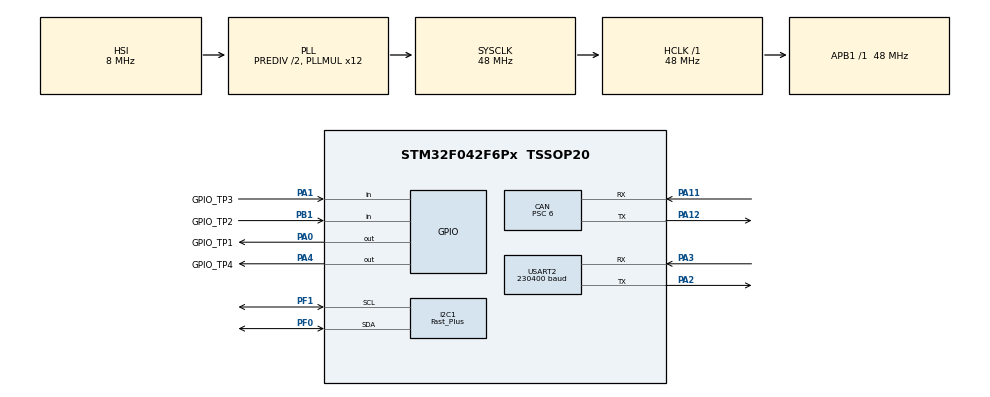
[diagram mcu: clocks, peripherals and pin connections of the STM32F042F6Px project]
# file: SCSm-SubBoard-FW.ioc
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CAN.ABOM=DISABLE
CAN.AWUM=DISABLE
CAN.BS1=CAN_BS1_13TQ
CAN.BS2=CAN_BS2_2TQ
CAN.CalculateBaudRate=500000
CAN.CalculateTimeBit=2000
CAN.CalculateTimeQuantum=125.0
CAN.NART=ENABLE
CAN.Prescaler=6
CAN.SJW=CAN_SJW_2TQ
I2C1.I2C_Speed_Mode=I2C_Fast_Plus
I2C1.Speed=100
I2C1.Timing=0x20003D5E
IWDG.Prescaler=IWDG_PRESCALER_32
IWDG.Reload=2048
IWDG.Window=2048
Mcu.Family=STM32F0
Mcu.Name=STM32F042F6Px
Mcu.Package=TSSOP20
NVIC.CEC_CAN_IRQn=true\:0\:0\:false\:false\:true\:true\:true\:true
NVIC.I2C1_IRQn=true\:0\:0\:false\:false\:true\:true\:true\:true
NVIC.TIM1_BRK_UP_TRG_COM_IRQn=true\:3\:0\:false\:false\:true\:true\:true\:true
NVIC.TIM3_IRQn=true\:0\:0\:false\:false\:true\:true\:true\:true
NVIC.TimeBase=TIM1_BRK_UP_TRG_COM_IRQn
NVIC.TimeBaseIP=TIM1
NVIC.USART2_IRQn=true\:0\:0\:false\:false\:true\:true\:true\:true
PA0.GPIO_Label=GPIO_TP1
PA0.Signal=GPIO_Output
PA1.GPIO_Label=GPIO_TP3
PA1.Signal=GPIO_Input
PA11.Mode=CAN_Activate
PA11.Signal=CAN_RX
PA12.Mode=CAN_Activate
PA12.Signal=CAN_TX
PA13.Mode=Serial_Wire
PA13.Signal=SYS_SWDIO
PA14.Mode=Serial_Wire
PA14.Signal=SYS_SWCLK
PA2.Mode=Asynchronous
PA2.Signal=USART2_TX
PA3.Mode=Asynchronous
PA3.Signal=USART2_RX
PA4.GPIO_Label=GPIO_TP4
PA4.Signal=GPIO_Output
PA5.Signal=SPI1_SCK
PA6.Signal=SPI1_MISO
PA7.Signal=SPI1_MOSI
PB1.GPIO_Label=GPIO_TP2
PB1.Signal=GPIO_Input
PF0-OSC_IN.Mode=I2C
PF0-OSC_IN.Signal=I2C1_SDA
PF1-OSC_OUT.Mode=I2C
PF1-OSC_OUT.Signal=I2C1_SCL
ProjectManager.HeapSize=0x200
ProjectManager.StackSize=0x400
ProjectManager.TargetToolchain=STM32CubeIDE
RCC.AHBFreq_Value=48000000
RCC.APB1Freq_Value=48000000
RCC.APB1TimFreq_Value=48000000
RCC.HCLKFreq_Value=48000000
RCC.I2c1ClockSelection=RCC_I2C1CLKSOURCE_SYSCLK
RCC.PLLDivider=RCC_PREDIV_DIV2
RCC.PLLMUL=RCC_PLL_MUL12
RCC.SYSCLKFreq_VALUE=48000000
RCC.SYSCLKSource=RCC_SYSCLKSOURCE_PLLCLK
TIM2.Prescaler=47
TIM3.Period=5000
TIM3.Prescaler=4800-1
USART2.BaudRate=230400
USART2.Parity=PARITY_EVEN
USART2.VirtualMode-Asynchronous=VM_ASYNC
USART2.WordLength=WORDLENGTH_9B
VP_IWDG_VS_IWDG.Mode=IWDG_Activate
VP_SYS_VS_PINREMAP.Mode=PINREMAP
VP_SYS_VS_tim1.Mode=TIM1
VP_TIM2_VS_ClockSourceINT.Mode=Internal
VP_TIM3_VS_ClockSourceINT.Mode=Internal
board=custom

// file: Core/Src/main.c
/* USER CODE BEGIN Header */
/**
 ******************************************************************************
 * @file           : main.c
 * @brief          : Main program body
 ******************************************************************************
 * @attention
 *
 * Copyright (c) 2023 STMicroelectronics.
 * All rights reserved.
 *
 * This software is licensed under terms that can be found in the LICENSE file
 * in the root directory of this software component.
 * If no LICENSE file comes with this software, it is provided AS-IS.
 *
 ******************************************************************************
 */
/* USER CODE END Header */
#include "main.h"

/* USER CODE BEGIN Includes */
#define _LOG_LEVEL_ (4)
#include "log.h"
#include "crc8.h"
/* USER CODE END Includes */

/* USER CODE BEGIN PTD */

/* SENSOR DATA FRAME
 * length : 8 bytes
 * [0] : status - 0 for error, 1 for okay
 * [1-2] : temperature integer part - int16_t
 * [3] : temperature decimal part - uint8_t (0~99)
 * [4-5] : relative humidity integer part - int16_t
 * [6] : relative humidity decimal part - uint8_t (0-99)
 * [7] : crc of [0-6]
 */
union SHT41A_DATA
{
  uint8_t a[8];
  struct __attribute__((packed))
  {
    uint8_t status; // 0 -fail, 1 - okay
    int16_t t_int;
    uint8_t t_dec;
    int16_t h_int;
    uint8_t h_dec;
    uint8_t crc;
  } s;
};
/* USER CODE END PTD */

/* USER CODE BEGIN PD */
#define CAN_SENSORS_ID_BASE (0x300)
/* USER CODE END PD */

CAN_HandleTypeDef hcan;

I2C_HandleTypeDef hi2c1;

IWDG_HandleTypeDef hiwdg;

TIM_HandleTypeDef htim2;
TIM_HandleTypeDef htim3;

UART_HandleTypeDef huart2;

/* USER CODE BEGIN PV */
union SHT41A_DATA sht41a_data[8];
/* USER CODE END PV */

void SystemClock_Config(void);
static void MX_GPIO_Init(void);
static void MX_CAN_Init(void);
static void MX_I2C1_Init(void);
static void MX_USART2_UART_Init(void);
static void MX_TIM2_Init(void);
static void MX_TIM3_Init(void);
static void MX_IWDG_Init(void);

/* USER CODE BEGIN 0 */
int _write(int file, char *p, int len)
{
  HAL_UART_Transmit(&huart2, p, len, 10);
  return len;
}

void delay_us(uint32_t us)
{
  __HAL_TIM_SET_COUNTER(&htim2, 0); // set the counter value a 0
  while (__HAL_TIM_GET_COUNTER(&htim2) < us)
    ; // wait for the counter to reach the us input in the parameter
}
/* USER CODE END 0 */

int main(void)
{
  /* USER CODE BEGIN 1 */
  __HAL_DBGMCU_FREEZE_IWDG();

  /* USER CODE END 1 */

  /* MCU Configuration--------------------------------------------------------*/

  /* Reset of all peripherals, Initializes the Flash interface and the Systick. */
  HAL_Init();

  /* Configure the system clock */
  SystemClock_Config();

  /* Initialize all configured peripherals */
  MX_GPIO_Init();
  MX_CAN_Init();
  MX_I2C1_Init();
  MX_USART2_UART_Init();
  MX_TIM2_Init();
  MX_TIM3_Init();
  MX_IWDG_Init();
  /* USER CODE BEGIN 2 */
  if (HAL_CAN_Start(&hcan) != HAL_OK)
  {
    Error_Handler();
  }
  HAL_TIM_Base_Start(&htim2);
  HAL_TIM_Base_Start_IT(&htim3);
  /* USER CODE END 2 */

  /* Infinite loop */
  /* USER CODE BEGIN WHILE */
  LOGI("main loop starting");
  while (1)
  {
    /* USER CODE END WHILE */

    /* USER CODE BEGIN 3 */
    static int i = 0;
    uint8_t pca_config = 1 << i;
    static uint8_t sht_cmd = 0xfd;
    uint8_t sht_buf[6];
    static uint32_t loop_start = 0, loop_delay_amount = 0;

    if (i == 0)
    {
      loop_start = HAL_GetTick();
    }

    if (HAL_I2C_Master_Transmit(&hi2c1, 0x70 << 1, &pca_config, 1, 5) == HAL_OK)
    {
      LOGD("Setting I2C MUX to Port #%d okay", i);
    }
    else
    {
      LOGE("Setting I2C MUX to Port #%d FAILED", i);
      goto NEXT;
    }

    sht41a_data[i].s.status = 0;
    sht41a_data[i].s.t_int = 0;
    sht41a_data[i].s.t_dec = 0;
    sht41a_data[i].s.h_int = 0;
    sht41a_data[i].s.h_dec = 0;

    if (HAL_I2C_Master_Transmit(&hi2c1, 0x44 << 1, &sht_cmd, 1, 10) != HAL_OK)
    {
      LOGE("Transmitting command to Sensor #%d failed", i);
      goto NEXT;
    }

    delay_us(10000); // 10mS

    if (HAL_I2C_Master_Receive(&hi2c1, 0x44 << 1, sht_buf, 6, 10) != HAL_OK)
    {
      LOGE("Retrieving data from Sensor #%d failed", i);
      goto NEXT;
    }
    else
    {
      uint16_t t_ticks = (sht_buf[0] << 8) | (sht_buf[1] << 0);
      uint16_t rh_ticks = (sht_buf[3] << 8) | (sht_buf[4] << 0);
      uint8_t t_crc = __crc8(sht_buf, 2);
      uint8_t rh_crc = __crc8(sht_buf + 3, 2);

      double t_degC = -45.0l + 175.0l * (double) t_ticks / 65535.0l;
      int t_degC_int = t_degC;
      int t_degC_dec = (t_degC - t_degC_int) * 100;
      LOGD("Sensor #%d : Temp [%d.%02d]'C  crc=%d", i, t_degC_int, t_degC_dec, t_crc == sht_buf[2]);

      double rh_pRH = -6.0l + 125.0l * (double) rh_ticks / 65535.0l;
      int rh_pRH_int = rh_pRH;
      int rh_pRH_dec = (rh_pRH - rh_pRH_int) * 100;
      LOGD("Sensor #%d : Hum  [%d.%02d]%%RH crc=%d", i, rh_pRH_int, rh_pRH_dec, rh_crc == sht_buf[5]);

      if (t_crc != sht_buf[2] || rh_crc != sht_buf[5])
      {
        LOGE("CRC NOT Matched, ignoring");
      }
      else
      {
        sht41a_data[i].s.status = 1;
        sht41a_data[i].s.t_int = t_degC_int;
        sht41a_data[i].s.t_dec = t_degC_dec;
        sht41a_data[i].s.h_int = rh_pRH_int;
        sht41a_data[i].s.h_dec = rh_pRH_dec;
        sht41a_data[i].s.crc = __crc8(sht41a_data[i].a, 7);
      }
    }

    NEXT:
    i++;
    if (7 < i)
    {
      i = 0;

      for (int j = 0; j < 8; j++)
      {
        CAN_TxHeaderTypeDef TxHeader;
        uint32_t TxMailBox;
        int retry_cnt = 0;

        TxHeader.StdId = CAN_SENSORS_ID_BASE + j;
        TxHeader.ExtId = 0;
        TxHeader.IDE = CAN_ID_STD;
        TxHeader.RTR = CAN_RTR_DATA;
        TxHeader.DLC = 8;

        while (1)
        {
          if (HAL_CAN_AddTxMessage(&hcan, &TxHeader, sht41a_data[j].a, &TxMailBox) != HAL_OK)
          {
            retry_cnt++;

            if (10 <= retry_cnt)
            {
              LOGE("HAL_CAN_AddTxMessage Failed : %d", j);
              break;
            }
            delay_us(100);
          }
          else
          {
            break;
          }
        }
        delay_us(5000);
      }

      uint32_t now = HAL_GetTick();
      if (now < loop_start)
      { // tick overlapped
        loop_delay_amount = 5000 - (now + (UINT32_MAX - loop_start));
      }
      else
      {
        loop_delay_amount = 5000 - (now - loop_start);
      }

      LOGD("loop done. delay for %lu msec", loop_delay_amount);
      LOGI("=========================");
      delay_us(loop_delay_amount * 1000);
    }
    else
    {
      delay_us(100000);
    }

  }
  /* USER CODE END 3 */
}

void SystemClock_Config(void)
{
  RCC_OscInitTypeDef RCC_OscInitStruct = {0};
  RCC_ClkInitTypeDef RCC_ClkInitStruct = {0};
  RCC_PeriphCLKInitTypeDef PeriphClkInit = {0};

  /** Initializes the RCC Oscillators according to the specified parameters
  * in the RCC_OscInitTypeDef structure.
  */
  RCC_OscInitStruct.OscillatorType = RCC_OSCILLATORTYPE_HSI|RCC_OSCILLATORTYPE_LSI;
  RCC_OscInitStruct.HSIState = RCC_HSI_ON;
  RCC_OscInitStruct.HSICalibrationValue = RCC_HSICALIBRATION_DEFAULT;
  RCC_OscInitStruct.LSIState = RCC_LSI_ON;
  RCC_OscInitStruct.PLL.PLLState = RCC_PLL_ON;
  RCC_OscInitStruct.PLL.PLLSource = RCC_PLLSOURCE_HSI;
  RCC_OscInitStruct.PLL.PLLMUL = RCC_PLL_MUL12;
  RCC_OscInitStruct.PLL.PREDIV = RCC_PREDIV_DIV2;
  if (HAL_RCC_OscConfig(&RCC_OscInitStruct) != HAL_OK)
  {
    Error_Handler();
  }

  /** Initializes the CPU, AHB and APB buses clocks
  */
  RCC_ClkInitStruct.ClockType = RCC_CLOCKTYPE_HCLK|RCC_CLOCKTYPE_SYSCLK
                              |RCC_CLOCKTYPE_PCLK1;
  RCC_ClkInitStruct.SYSCLKSource = RCC_SYSCLKSOURCE_PLLCLK;
  RCC_ClkInitStruct.AHBCLKDivider = RCC_SYSCLK_DIV1;
  RCC_ClkInitStruct.APB1CLKDivider = RCC_HCLK_DIV1;

  if (HAL_RCC_ClockConfig(&RCC_ClkInitStruct, FLASH_LATENCY_1) != HAL_OK)
  {
    Error_Handler();
  }
  PeriphClkInit.PeriphClockSelection = RCC_PERIPHCLK_I2C1;
  PeriphClkInit.I2c1ClockSelection = RCC_I2C1CLKSOURCE_SYSCLK;
  if (HAL_RCCEx_PeriphCLKConfig(&PeriphClkInit) != HAL_OK)
  {
    Error_Handler();
  }
}

static void MX_CAN_Init(void)
{

  /* USER CODE BEGIN CAN_Init 0 */

  /* !! IMPORTANT !!
   * 1. visit http://www.bittiming.can-wiki.info/
   * 2. select "ST Microelectronics bxCAN"
   * 3. Clock Rate = 48
   * 4. Sample-Point = 87.5
   * 5. SJW = 2
   * 6. kbit/s = 500
   * 7. click "Request Table"
   *
   * pre-scaler : 6
   * time quanta 1 : 13
   * time quanta 2 : 2
   */

  /* USER CODE END CAN_Init 0 */

  hcan.Instance = CAN;
  hcan.Init.Prescaler = 6;
  hcan.Init.Mode = CAN_MODE_NORMAL;
  hcan.Init.SyncJumpWidth = CAN_SJW_2TQ;
  hcan.Init.TimeSeg1 = CAN_BS1_13TQ;
  hcan.Init.TimeSeg2 = CAN_BS2_2TQ;
  hcan.Init.TimeTriggeredMode = DISABLE;
  hcan.Init.AutoBusOff = DISABLE;
  hcan.Init.AutoWakeUp = DISABLE;
  hcan.Init.AutoRetransmission = ENABLE;
  hcan.Init.ReceiveFifoLocked = DISABLE;
  hcan.Init.TransmitFifoPriority = DISABLE;
  if (HAL_CAN_Init(&hcan) != HAL_OK)
  {
    Error_Handler();
  }

}

static void MX_I2C1_Init(void)
{

  hi2c1.Instance = I2C1;
  hi2c1.Init.Timing = 0x20003D5E;
  hi2c1.Init.OwnAddress1 = 0;
  hi2c1.Init.AddressingMode = I2C_ADDRESSINGMODE_7BIT;
  hi2c1.Init.DualAddressMode = I2C_DUALADDRESS_DISABLE;
  hi2c1.Init.OwnAddress2 = 0;
  hi2c1.Init.OwnAddress2Masks = I2C_OA2_NOMASK;
  hi2c1.Init.GeneralCallMode = I2C_GENERALCALL_DISABLE;
  hi2c1.Init.NoStretchMode = I2C_NOSTRETCH_DISABLE;
  if (HAL_I2C_Init(&hi2c1) != HAL_OK)
  {
    Error_Handler();
  }

  /** Configure Analogue filter
  */
  if (HAL_I2CEx_ConfigAnalogFilter(&hi2c1, I2C_ANALOGFILTER_ENABLE) != HAL_OK)
  {
    Error_Handler();
  }

  /** Configure Digital filter
  */
  if (HAL_I2CEx_ConfigDigitalFilter(&hi2c1, 0) != HAL_OK)
  {
    Error_Handler();
  }

  /** I2C Fast mode Plus enable
  */
  __HAL_SYSCFG_FASTMODEPLUS_ENABLE(I2C_FASTMODEPLUS_I2C1);

}

static void MX_IWDG_Init(void)
{

  hiwdg.Instance = IWDG;
  hiwdg.Init.Prescaler = IWDG_PRESCALER_32;
  hiwdg.Init.Window = 2048;
  hiwdg.Init.Reload = 2048;
  if (HAL_IWDG_Init(&hiwdg) != HAL_OK)
  {
    Error_Handler();
  }

}

static void MX_TIM2_Init(void)
{

  TIM_ClockConfigTypeDef sClockSourceConfig = {0};
  TIM_MasterConfigTypeDef sMasterConfig = {0};

  htim2.Instance = TIM2;
  htim2.Init.Prescaler = 47;
  htim2.Init.CounterMode = TIM_COUNTERMODE_UP;
  htim2.Init.Period = 4294967295;
  htim2.Init.ClockDivision = TIM_CLOCKDIVISION_DIV1;
  htim2.Init.AutoReloadPreload = TIM_AUTORELOAD_PRELOAD_DISABLE;
  if (HAL_TIM_Base_Init(&htim2) != HAL_OK)
  {
    Error_Handler();
  }
  sClockSourceConfig.ClockSource = TIM_CLOCKSOURCE_INTERNAL;
  if (HAL_TIM_ConfigClockSource(&htim2, &sClockSourceConfig) != HAL_OK)
  {
    Error_Handler();
  }
  sMasterConfig.MasterOutputTrigger = TIM_TRGO_RESET;
  sMasterConfig.MasterSlaveMode = TIM_MASTERSLAVEMODE_DISABLE;
  if (HAL_TIMEx_MasterConfigSynchronization(&htim2, &sMasterConfig) != HAL_OK)
  {
    Error_Handler();
  }

}

static void MX_TIM3_Init(void)
{

  TIM_ClockConfigTypeDef sClockSourceConfig = {0};
  TIM_MasterConfigTypeDef sMasterConfig = {0};

  htim3.Instance = TIM3;
  htim3.Init.Prescaler = 4800-1;
  htim3.Init.CounterMode = TIM_COUNTERMODE_UP;
  htim3.Init.Period = 5000;
  htim3.Init.ClockDivision = TIM_CLOCKDIVISION_DIV1;
  htim3.Init.AutoReloadPreload = TIM_AUTORELOAD_PRELOAD_DISABLE;
  if (HAL_TIM_Base_Init(&htim3) != HAL_OK)
  {
    Error_Handler();
  }
  sClockSourceConfig.ClockSource = TIM_CLOCKSOURCE_INTERNAL;
  if (HAL_TIM_ConfigClockSource(&htim3, &sClockSourceConfig) != HAL_OK)
  {
    Error_Handler();
  }
  sMasterConfig.MasterOutputTrigger = TIM_TRGO_RESET;
  sMasterConfig.MasterSlaveMode = TIM_MASTERSLAVEMODE_DISABLE;
  if (HAL_TIMEx_MasterConfigSynchronization(&htim3, &sMasterConfig) != HAL_OK)
  {
    Error_Handler();
  }

}

static void MX_USART2_UART_Init(void)
{

  huart2.Instance = USART2;
  huart2.Init.BaudRate = 230400;
  huart2.Init.WordLength = UART_WORDLENGTH_9B;
  huart2.Init.StopBits = UART_STOPBITS_1;
  huart2.Init.Parity = UART_PARITY_EVEN;
  huart2.Init.Mode = UART_MODE_TX_RX;
  huart2.Init.HwFlowCtl = UART_HWCONTROL_NONE;
  huart2.Init.OverSampling = UART_OVERSAMPLING_16;
  huart2.Init.OneBitSampling = UART_ONE_BIT_SAMPLE_DISABLE;
  huart2.AdvancedInit.AdvFeatureInit = UART_ADVFEATURE_NO_INIT;
  if (HAL_UART_Init(&huart2) != HAL_OK)
  {
    Error_Handler();
  }

}

static void MX_GPIO_Init(void)
{
  GPIO_InitTypeDef GPIO_InitStruct = {0};

  /* GPIO Ports Clock Enable */
  __HAL_RCC_GPIOF_CLK_ENABLE();
  __HAL_RCC_GPIOA_CLK_ENABLE();
  __HAL_RCC_GPIOB_CLK_ENABLE();

  /*Configure GPIO pin Output Level */
  HAL_GPIO_WritePin(GPIOA, GPIO_TP1_Pin|GPIO_TP4_Pin, GPIO_PIN_RESET);

  /*Configure GPIO pins : GPIO_TP1_Pin GPIO_TP4_Pin */
  GPIO_InitStruct.Pin = GPIO_TP1_Pin|GPIO_TP4_Pin;
  GPIO_InitStruct.Mode = GPIO_MODE_OUTPUT_PP;
  GPIO_InitStruct.Pull = GPIO_NOPULL;
  GPIO_InitStruct.Speed = GPIO_SPEED_FREQ_LOW;
  HAL_GPIO_Init(GPIOA, &GPIO_InitStruct);

  /*Configure GPIO pin : GPIO_TP3_Pin */
  GPIO_InitStruct.Pin = GPIO_TP3_Pin;
  GPIO_InitStruct.Mode = GPIO_MODE_INPUT;
  GPIO_InitStruct.Pull = GPIO_NOPULL;
  HAL_GPIO_Init(GPIO_TP3_GPIO_Port, &GPIO_InitStruct);

  /*Configure GPIO pins : PA5 PA6 PA7 */
  GPIO_InitStruct.Pin = GPIO_PIN_5|GPIO_PIN_6|GPIO_PIN_7;
  GPIO_InitStruct.Mode = GPIO_MODE_AF_PP;
  GPIO_InitStruct.Pull = GPIO_NOPULL;
  GPIO_InitStruct.Speed = GPIO_SPEED_FREQ_HIGH;
  GPIO_InitStruct.Alternate = GPIO_AF0_SPI1;
  HAL_GPIO_Init(GPIOA, &GPIO_InitStruct);

  /*Configure GPIO pin : GPIO_TP2_Pin */
  GPIO_InitStruct.Pin = GPIO_TP2_Pin;
  GPIO_InitStruct.Mode = GPIO_MODE_INPUT;
  GPIO_InitStruct.Pull = GPIO_NOPULL;
  HAL_GPIO_Init(GPIO_TP2_GPIO_Port, &GPIO_InitStruct);

}

void HAL_TIM_PeriodElapsedCallback(TIM_HandleTypeDef *htim)
{
  if (htim->Instance == TIM1) {
    HAL_IncTick();
  }
}

void Error_Handler(void)
{
  __disable_irq();
  while (1)
  {
  }
}
